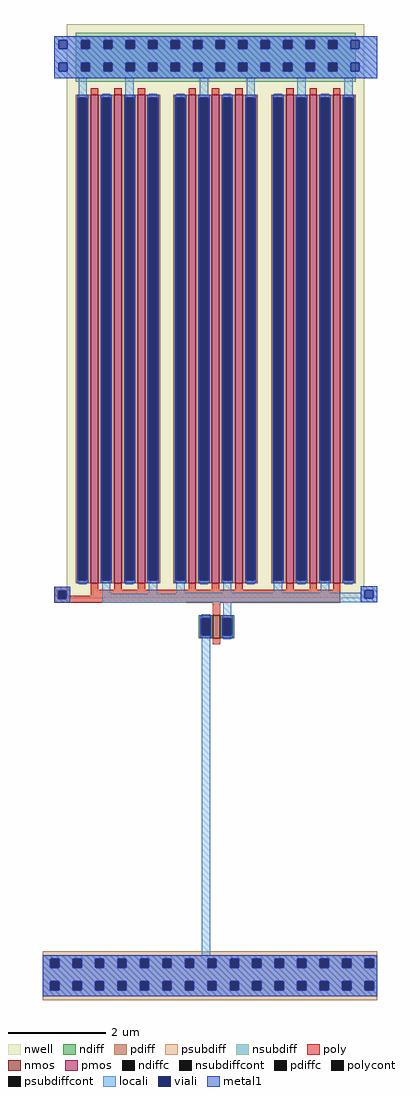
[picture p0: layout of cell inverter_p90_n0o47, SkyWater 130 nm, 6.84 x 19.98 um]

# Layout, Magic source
magic
tech sky130A
magscale 1 2
<< nwell >>
rect -540 2312 678 2540
rect -512 2286 648 2312
rect -492 2254 -458 2286
rect -300 2254 -266 2286
rect 4 2254 38 2286
rect 196 2254 230 2286
rect 404 2254 438 2286
rect 596 2254 630 2286
rect -592 198 -576 216
<< psubdiff >>
rect -638 -1288 730 -1256
rect -638 -1324 -608 -1288
rect -572 -1324 -516 -1288
rect -480 -1324 -424 -1288
rect -388 -1324 -332 -1288
rect -296 -1324 -240 -1288
rect -204 -1324 -148 -1288
rect -112 -1324 -56 -1288
rect -20 -1324 36 -1288
rect 72 -1324 128 -1288
rect 164 -1324 220 -1288
rect 256 -1324 312 -1288
rect 348 -1324 404 -1288
rect 440 -1324 496 -1288
rect 532 -1324 588 -1288
rect 624 -1324 680 -1288
rect 716 -1324 730 -1288
rect -638 -1380 730 -1324
rect -638 -1416 -608 -1380
rect -572 -1416 -516 -1380
rect -480 -1416 -424 -1380
rect -388 -1416 -332 -1380
rect -296 -1416 -240 -1380
rect -204 -1416 -148 -1380
rect -112 -1416 -56 -1380
rect -20 -1416 36 -1380
rect 72 -1416 128 -1380
rect 164 -1416 220 -1380
rect 256 -1416 312 -1380
rect 348 -1416 404 -1380
rect 440 -1416 496 -1380
rect 532 -1416 588 -1380
rect 624 -1416 680 -1380
rect 716 -1416 730 -1380
rect -638 -1456 730 -1416
<< nsubdiff >>
rect -504 2474 642 2504
rect -504 2438 -482 2474
rect -446 2438 -390 2474
rect -354 2438 -298 2474
rect -262 2438 -206 2474
rect -170 2438 -114 2474
rect -78 2438 -22 2474
rect 14 2438 70 2474
rect 106 2438 162 2474
rect 198 2438 254 2474
rect 290 2438 346 2474
rect 382 2438 438 2474
rect 474 2438 530 2474
rect 566 2438 642 2474
rect -504 2382 642 2438
rect -504 2346 -482 2382
rect -446 2346 -390 2382
rect -354 2346 -298 2382
rect -262 2346 -206 2382
rect -170 2346 -114 2382
rect -78 2346 -22 2382
rect 14 2346 70 2382
rect 106 2346 162 2382
rect 198 2346 254 2382
rect 290 2346 346 2382
rect 382 2346 438 2382
rect 474 2346 530 2382
rect 566 2346 642 2382
rect -504 2304 642 2346
<< psubdiffcont >>
rect -608 -1324 -572 -1288
rect -516 -1324 -480 -1288
rect -424 -1324 -388 -1288
rect -332 -1324 -296 -1288
rect -240 -1324 -204 -1288
rect -148 -1324 -112 -1288
rect -56 -1324 -20 -1288
rect 36 -1324 72 -1288
rect 128 -1324 164 -1288
rect 220 -1324 256 -1288
rect 312 -1324 348 -1288
rect 404 -1324 440 -1288
rect 496 -1324 532 -1288
rect 588 -1324 624 -1288
rect 680 -1324 716 -1288
rect -608 -1416 -572 -1380
rect -516 -1416 -480 -1380
rect -424 -1416 -388 -1380
rect -332 -1416 -296 -1380
rect -240 -1416 -204 -1380
rect -148 -1416 -112 -1380
rect -56 -1416 -20 -1380
rect 36 -1416 72 -1380
rect 128 -1416 164 -1380
rect 220 -1416 256 -1380
rect 312 -1416 348 -1380
rect 404 -1416 440 -1380
rect 496 -1416 532 -1380
rect 588 -1416 624 -1380
rect 680 -1416 716 -1380
<< nsubdiffcont >>
rect -482 2438 -446 2474
rect -390 2438 -354 2474
rect -298 2438 -262 2474
rect -206 2438 -170 2474
rect -114 2438 -78 2474
rect -22 2438 14 2474
rect 70 2438 106 2474
rect 162 2438 198 2474
rect 254 2438 290 2474
rect 346 2438 382 2474
rect 438 2438 474 2474
rect 530 2438 566 2474
rect -482 2346 -446 2382
rect -390 2346 -354 2382
rect -298 2346 -262 2382
rect -206 2346 -170 2382
rect -114 2346 -78 2382
rect -22 2346 14 2382
rect 70 2346 106 2382
rect 162 2346 198 2382
rect 254 2346 290 2382
rect 346 2346 382 2382
rect 438 2346 474 2382
rect 530 2346 566 2382
<< poly >>
rect -592 220 -526 236
rect -592 186 -576 220
rect -542 200 -526 220
rect -542 194 -394 200
rect -220 194 -42 224
rect 180 194 358 224
rect -542 186 580 194
rect -592 170 580 186
rect 58 146 88 170
<< polycont >>
rect -576 186 -542 220
<< locali >>
rect -592 2474 730 2490
rect -592 2438 -574 2474
rect -538 2438 -482 2474
rect -446 2438 -390 2474
rect -354 2438 -298 2474
rect -262 2438 -206 2474
rect -170 2438 -114 2474
rect -78 2438 -22 2474
rect 14 2438 70 2474
rect 106 2438 162 2474
rect 198 2438 254 2474
rect 290 2438 346 2474
rect 382 2438 438 2474
rect 474 2438 530 2474
rect 566 2438 622 2474
rect 658 2438 730 2474
rect -592 2382 730 2438
rect -592 2346 -574 2382
rect -538 2346 -482 2382
rect -446 2346 -390 2382
rect -354 2346 -298 2382
rect -262 2346 -206 2382
rect -170 2346 -114 2382
rect -78 2346 -22 2382
rect 14 2346 70 2382
rect 106 2346 162 2382
rect 198 2346 254 2382
rect 290 2346 346 2382
rect 382 2346 438 2382
rect 474 2346 530 2382
rect 566 2346 622 2382
rect 658 2346 730 2382
rect -592 2318 730 2346
rect -492 2254 -458 2318
rect -300 2254 -266 2318
rect 4 2254 38 2318
rect 196 2254 230 2318
rect 404 2254 438 2318
rect 596 2254 630 2318
rect -592 220 -526 236
rect -592 186 -576 220
rect -542 186 -526 220
rect -592 170 -526 186
rect -396 208 -362 246
rect -204 208 -170 246
rect -92 212 -58 246
rect 100 212 134 246
rect 308 212 342 246
rect 500 212 534 246
rect 664 222 730 238
rect 664 212 680 222
rect -92 208 680 212
rect -396 188 680 208
rect 714 188 730 222
rect -396 172 730 188
rect -396 170 -54 172
rect 100 124 134 172
rect 12 -1272 46 22
rect -638 -1288 730 -1272
rect -638 -1324 -608 -1288
rect -572 -1324 -516 -1288
rect -480 -1324 -424 -1288
rect -388 -1324 -332 -1288
rect -296 -1324 -240 -1288
rect -204 -1324 -148 -1288
rect -112 -1324 -56 -1288
rect -20 -1324 36 -1288
rect 72 -1324 128 -1288
rect 164 -1324 220 -1288
rect 256 -1324 312 -1288
rect 348 -1324 404 -1288
rect 440 -1324 496 -1288
rect 532 -1324 588 -1288
rect 624 -1324 680 -1288
rect 716 -1324 730 -1288
rect -638 -1380 730 -1324
rect -638 -1416 -608 -1380
rect -572 -1416 -516 -1380
rect -480 -1416 -424 -1380
rect -388 -1416 -332 -1380
rect -296 -1416 -240 -1380
rect -204 -1416 -148 -1380
rect -112 -1416 -56 -1380
rect -20 -1416 36 -1380
rect 72 -1416 128 -1380
rect 164 -1416 220 -1380
rect 256 -1416 312 -1380
rect 348 -1416 404 -1380
rect 440 -1416 496 -1380
rect 532 -1416 588 -1380
rect 624 -1416 680 -1380
rect 716 -1416 730 -1380
rect -638 -1440 730 -1416
<< viali >>
rect -574 2438 -538 2474
rect -482 2438 -446 2474
rect -390 2438 -354 2474
rect -298 2438 -262 2474
rect -206 2438 -170 2474
rect -114 2438 -78 2474
rect -22 2438 14 2474
rect 70 2438 106 2474
rect 162 2438 198 2474
rect 254 2438 290 2474
rect 346 2438 382 2474
rect 438 2438 474 2474
rect 530 2438 566 2474
rect 622 2438 658 2474
rect -574 2346 -538 2382
rect -482 2346 -446 2382
rect -390 2346 -354 2382
rect -298 2346 -262 2382
rect -206 2346 -170 2382
rect -114 2346 -78 2382
rect -22 2346 14 2382
rect 70 2346 106 2382
rect 162 2346 198 2382
rect 254 2346 290 2382
rect 346 2346 382 2382
rect 438 2346 474 2382
rect 530 2346 566 2382
rect 622 2346 658 2382
rect -576 186 -542 220
rect 680 188 714 222
rect -608 -1324 -572 -1288
rect -516 -1324 -480 -1288
rect -424 -1324 -388 -1288
rect -332 -1324 -296 -1288
rect -240 -1324 -204 -1288
rect -148 -1324 -112 -1288
rect -56 -1324 -20 -1288
rect 36 -1324 72 -1288
rect 128 -1324 164 -1288
rect 220 -1324 256 -1288
rect 312 -1324 348 -1288
rect 404 -1324 440 -1288
rect 496 -1324 532 -1288
rect 588 -1324 624 -1288
rect 680 -1324 716 -1288
rect -608 -1416 -572 -1380
rect -516 -1416 -480 -1380
rect -424 -1416 -388 -1380
rect -332 -1416 -296 -1380
rect -240 -1416 -204 -1380
rect -148 -1416 -112 -1380
rect -56 -1416 -20 -1380
rect 36 -1416 72 -1380
rect 128 -1416 164 -1380
rect 220 -1416 256 -1380
rect 312 -1416 348 -1380
rect 404 -1416 440 -1380
rect 496 -1416 532 -1380
rect 588 -1416 624 -1380
rect 680 -1416 716 -1380
<< metal1 >>
rect -592 2474 730 2490
rect -592 2438 -574 2474
rect -538 2438 -482 2474
rect -446 2438 -390 2474
rect -354 2438 -298 2474
rect -262 2438 -206 2474
rect -170 2438 -114 2474
rect -78 2438 -22 2474
rect 14 2438 70 2474
rect 106 2438 162 2474
rect 198 2438 254 2474
rect 290 2438 346 2474
rect 382 2438 438 2474
rect 474 2438 530 2474
rect 566 2438 622 2474
rect 658 2438 730 2474
rect -592 2382 730 2438
rect -592 2346 -574 2382
rect -538 2346 -482 2382
rect -446 2346 -390 2382
rect -354 2346 -298 2382
rect -262 2346 -206 2382
rect -170 2346 -114 2382
rect -78 2346 -22 2382
rect 14 2346 70 2382
rect 106 2346 162 2382
rect 198 2346 254 2382
rect 290 2346 346 2382
rect 382 2346 438 2382
rect 474 2346 530 2382
rect 566 2346 622 2382
rect 658 2346 730 2382
rect -592 2318 730 2346
rect -592 220 -526 236
rect -592 186 -576 220
rect -542 186 -526 220
rect -592 170 -526 186
rect 664 222 730 238
rect 664 188 680 222
rect 714 188 730 222
rect 664 172 730 188
rect -638 -1288 730 -1272
rect -638 -1324 -608 -1288
rect -572 -1324 -516 -1288
rect -480 -1324 -424 -1288
rect -388 -1324 -332 -1288
rect -296 -1324 -240 -1288
rect -204 -1324 -148 -1288
rect -112 -1324 -56 -1288
rect -20 -1324 36 -1288
rect 72 -1324 128 -1288
rect 164 -1324 220 -1288
rect 256 -1324 312 -1288
rect 348 -1324 404 -1288
rect 440 -1324 496 -1288
rect 532 -1324 588 -1288
rect 624 -1324 680 -1288
rect 716 -1324 730 -1288
rect -638 -1380 730 -1324
rect -638 -1416 -608 -1380
rect -572 -1416 -516 -1380
rect -480 -1416 -424 -1380
rect -388 -1416 -332 -1380
rect -296 -1416 -240 -1380
rect -204 -1416 -148 -1380
rect -112 -1416 -56 -1380
rect -20 -1416 36 -1380
rect 72 -1416 128 -1380
rect 164 -1416 220 -1380
rect 256 -1416 312 -1380
rect 348 -1416 404 -1380
rect 440 -1416 496 -1380
rect 532 -1416 588 -1380
rect 624 -1416 680 -1380
rect 716 -1416 730 -1380
rect -638 -1440 730 -1416
use sky130_fd_pr__nfet_01v8_PD6K7A  sky130_fd_pr__nfet_01v8_PD6K7A_0
transform 1 0 73 0 1 73
box -73 -73 73 73
use sky130_fd_pr__pfet_01v8_WGHLR5  sky130_fd_pr__pfet_01v8_WGHLR5_0
transform 1 0 -331 0 1 1250
box -209 -1062 209 1062
use sky130_fd_pr__pfet_01v8_WGHLR5  sky130_fd_pr__pfet_01v8_WGHLR5_1
transform 1 0 69 0 1 1250
box -209 -1062 209 1062
use sky130_fd_pr__pfet_01v8_WGHLR5  sky130_fd_pr__pfet_01v8_WGHLR5_2
transform 1 0 469 0 1 1250
box -209 -1062 209 1062
<< end >>

# cell sky130_fd_pr__nfet_01v8_PD6K7A: kit device sky130_fd_pr__nfet_01v8, w 0.47 l 0.150 m 1 nf 1 diffcov 100 polycov 100 guard 0 glc 1 grc 1 gtc 1 gbc 1 tbcov 100 rlcov 100 topc 0 botc 0 poverlap 0 doverlap 1 lmin 0.15 wmin 0.42 class mosfet compatible {sky130_fd_pr__nfet_01v8 sky130_fd_pr__nfet_01v8_lvt sky130_fd_bs_flash__special_sonosfet_star sky130_fd_pr__nfet_g5v0d10v5 sky130_fd_pr__nfet_05v0_nvt sky130_fd_pr__nfet_03v3_nvt} full_metal 0 viasrc 100 viadrn 100 viagate 100 viagb 0 viagr 0 viagl 0 viagt 0

# cell sky130_fd_pr__pfet_01v8_WGHLR5: kit device sky130_fd_pr__pfet_01v8, w 10 l 0.15 m 1 nf 3 diffcov 100 polycov 100 guard 0 glc 1 grc 1 gtc 1 gbc 1 tbcov 100 rlcov 100 topc 0 botc 0 poverlap 0 doverlap 1 lmin 0.15 wmin 0.42 class mosfet compatible {sky130_fd_pr__pfet_01v8 sky130_fd_pr__pfet_01v8_lvt sky130_fd_pr__pfet_01v8_hvt sky130_fd_pr__pfet_g5v0d10v5} full_metal 0 viasrc 100 viadrn 100 viagate 100 viagb 0 viagr 0 viagl 0 viagt 0
